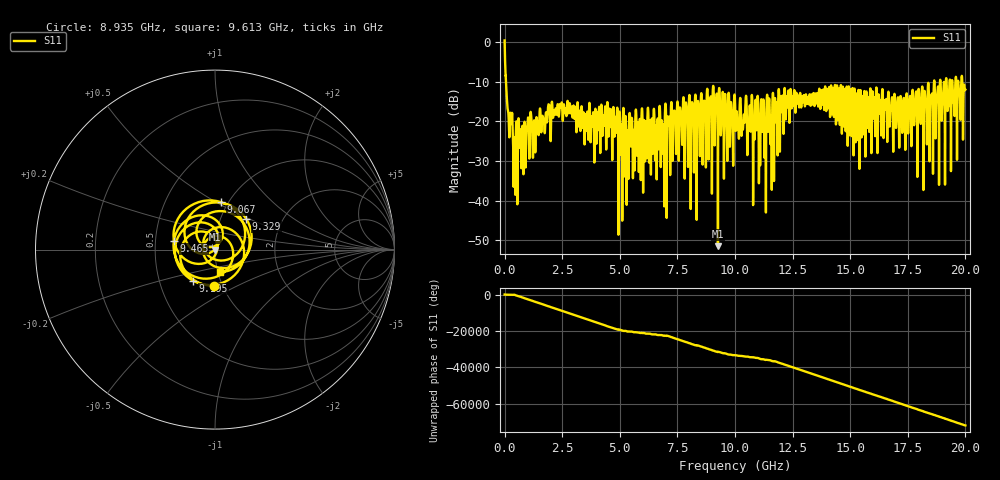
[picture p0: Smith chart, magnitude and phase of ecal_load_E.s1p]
! MS46122B
! 2250307/22442219
! 7/26/2025 10:20:40 AM
! C:\USERS\SPARKY\DOCUMENTS\VNA_DATA\JULY26_2025\295K\ECAL_LOAD_E.S1P
! CHANNEL.1
! TR.MEASUREMENT
! RAW.DATA
# GHZ S RI R 50.0
! FREQ.GHZ  S11RE  S11IM
!; PortSelection: Port_1
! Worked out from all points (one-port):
!   10001 points, 1 MHz to 20 GHz, reference 50 ohm
!   lowest |S11| = -51.5 dB at 9.261 GHz (marker M1), VSWR 1.01, Z = 49.7 - j0.0853 ohm
!   |S11| at or under -10 dB: 60.02 MHz to 18.64 GHz (18.58 GHz wide, 199 % of centre); 18.66 GHz to 18.9 GHz (238.2 MHz wide, 1.27 % of centre); 18.92 GHz to 19.15 GHz (230.8 MHz wide, 1.21 % of centre) (the widest 3 of 9)
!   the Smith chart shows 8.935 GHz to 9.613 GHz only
!   S11 on the Smith chart (normalised r, x): 8.935 GHz: 0.91, -0.38; 9.067 GHz: 0.93, +0.53; 9.195 GHz: 0.74, -0.27; 9.329 GHz: 1.32, +0.48; 9.465 GHz: 0.62, +0.06; 9.613 GHz: 1.02, -0.26
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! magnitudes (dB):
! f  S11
! 1 MHz  0.4
! 145 MHz  -17.2
! 469 MHz  -34.6
! 1.077 GHz  -28.7
! 1.273 GHz  -20.2
! 2.501 GHz  -16.8
! 3.815 GHz  -21.1
! 4.541 GHz  -17.2
! 5.001 GHz  -18.5
! 5.293 GHz  -33.1
! 6.731 GHz  -16.1
! 6.855 GHz  -28.0
! 7.501 GHz  -15.0
! 8.935 GHz  -13.9
! 9.067 GHz  -11.5
! 9.195 GHz  -13.5
! 9.261 GHz  -51.5
! 9.329 GHz  -12.2
! 9.465 GHz  -12.6
! 9.613 GHz  -18.0
! 10 GHz  -14.9
! 10.86 GHz  -20.0
! 10.92 GHz  -19.3
! 11.11 GHz  -19.4
! 12.5 GHz  -13.8
! 15 GHz  -14.2
! 17.5 GHz  -20.3
! 20 GHz  -12.0
